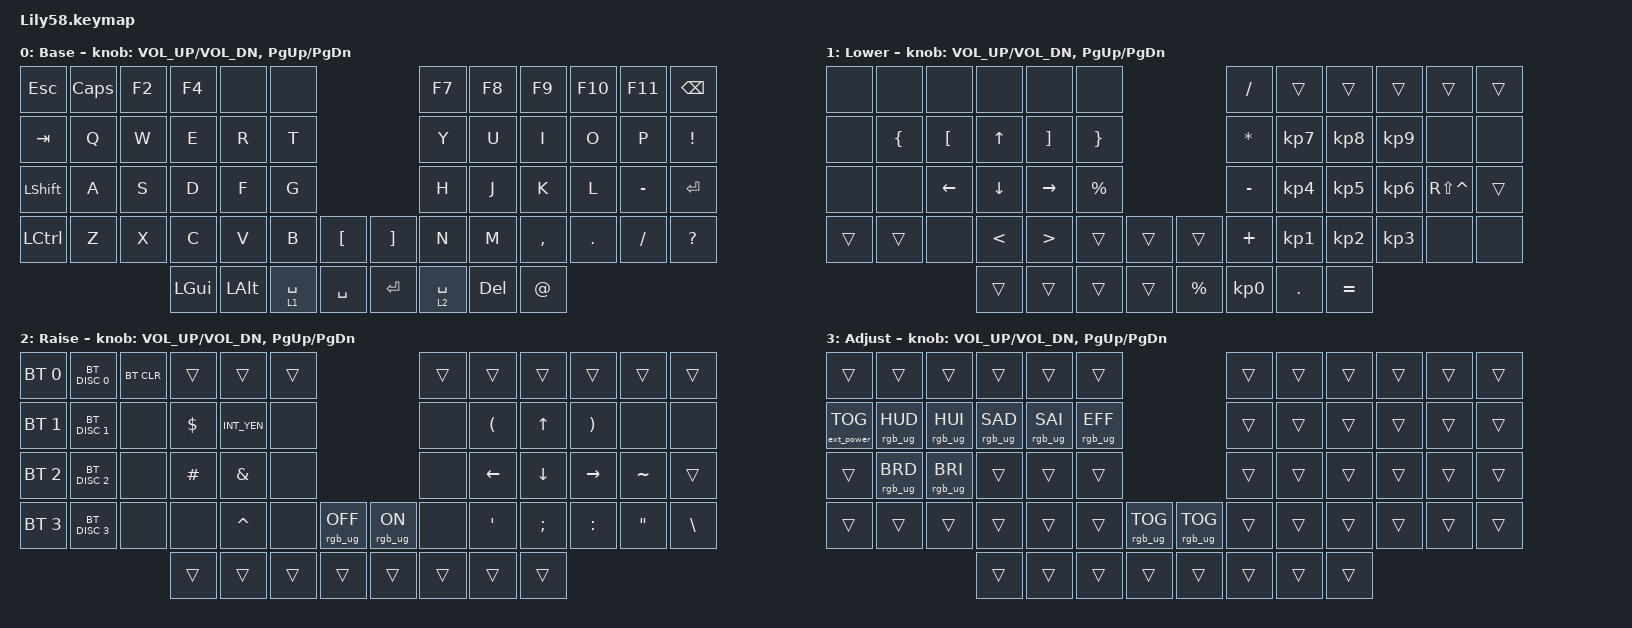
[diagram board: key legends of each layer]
/*
 * Copyright (c) 2020 The ZMK Contributors
 *
 * SPDX-License-Identifier: MIT
 */
// PandaKB Lily58 base config + keymap from yusukegenka-lang/lily58-wireless-view-zmk-config

#include <behaviors.dtsi>
#include <dt-bindings/zmk/bt.h>
#include <dt-bindings/zmk/ext_power.h>
#include <dt-bindings/zmk/keys.h>
#include <dt-bindings/zmk/rgb.h>

/ {
    // Activate ADJUST layer (RGB controls) by holding Lower and Raise together

    conditional_layers {
        compatible = "zmk,conditional-layers";

        adjust_layer {
            if-layers = <1 2>;
            then-layer = <3>;
        };
    };

    combos {
        compatible = "zmk,combos";

        muhenkan {
            bindings = <&kp INT_MUHENKAN>;
            key-positions = <28 27>;
        };

        henkan {
            bindings = <&kp INT_HENKAN>;
            key-positions = <31 32>;
        };
    };

    keymap {
        compatible = "zmk,keymap";

        default_layer {
            display-name = "Base";
            bindings = <
&kp ESC           &kp CAPS  &kp F2  &kp F4        &none         &none                               &kp F7       &kp F8   &kp F9       &kp F10  &kp F11    &kp BACKSPACE
&kp TAB           &kp Q     &kp W   &kp E         &kp R         &kp T                               &kp Y        &kp U    &kp I        &kp O    &kp P      &kp EXCLAMATION
&kp LEFT_SHIFT    &kp A     &kp S   &kp D         &kp F         &kp G                               &kp H        &kp J    &kp K        &kp L    &kp MINUS  &kp ENTER
&kp LEFT_CONTROL  &kp Z     &kp X   &kp C         &kp V         &kp B        &kp LBKT     &kp RBKT  &kp N        &kp M    &kp COMMA    &kp DOT  &kp FSLH   &kp QUESTION
                                    &kp LEFT_GUI  &kp LEFT_ALT  &lt 1 SPACE  &kp SPACE    &kp RET   &lt 2 SPACE  &kp DEL  &kp AT_SIGN
            >;

            sensor-bindings = <&inc_dec_kp C_VOL_UP C_VOL_DN &inc_dec_kp PG_UP PG_DN>;
        };

        lower_layer {
            display-name = "Lower";
            bindings = <
&none   &none           &none             &none           &none              &none                                   &kp SLASH        &trans           &trans           &trans           &trans         &trans
&none   &kp LEFT_BRACE  &kp LEFT_BRACKET  &kp UP_ARROW    &kp RIGHT_BRACKET  &kp RIGHT_BRACE                         &kp ASTERISK     &kp KP_NUMBER_7  &kp KP_NUMBER_8  &kp KP_NUMBER_9  &none          &none
&none   &none           &kp LEFT_ARROW    &kp DOWN_ARROW  &kp RIGHT          &kp PRCNT                               &kp MINUS        &kp KP_NUMBER_4  &kp KP_NUMBER_5  &kp KP_NUMBER_6  &kp RS(CARET)  &trans
&trans  &trans          &none             &kp LESS_THAN   &kp GREATER_THAN   &trans           &trans    &trans       &kp PLUS         &kp KP_NUMBER_1  &kp KP_NUMBER_2  &kp KP_NUMBER_3  &none          &none
                                          &trans          &trans             &trans           &trans    &kp PERCENT  &kp KP_NUMBER_0  &kp PERIOD       &kp EQUAL
            >;

            sensor-bindings = <&inc_dec_kp C_VOL_UP C_VOL_DN &inc_dec_kp PG_UP PG_DN>;
        };

        raise_layer {
            display-name = "Raise";
            bindings = <
&bt BT_SEL 0  &bt BT_DISC 0  &bt BT_CLR  &trans      &trans         &trans                                     &trans  &trans                &trans         &trans                 &trans             &trans
&bt BT_SEL 1  &bt BT_DISC 1  &none       &kp DOLLAR  &kp INT_YEN    &none                                      &none   &kp LEFT_PARENTHESIS  &kp UP_ARROW   &kp RIGHT_PARENTHESIS  &none              &none
&bt BT_SEL 2  &bt BT_DISC 2  &none       &kp HASH    &kp AMPERSAND  &none                                      &none   &kp LEFT              &kp DOWN       &kp RIGHT_ARROW        &kp TILDE          &trans
&bt BT_SEL 3  &bt BT_DISC 3  &none       &none       &kp CARET      &none   &rgb_ug RGB_OFF    &rgb_ug RGB_ON  &none   &kp SQT               &kp SEMICOLON  &kp COLON              &kp DOUBLE_QUOTES  &kp BSLH
                                         &trans      &trans         &trans  &trans             &trans          &trans  &trans                &trans
            >;

            sensor-bindings = <&inc_dec_kp C_VOL_UP C_VOL_DN &inc_dec_kp PG_UP PG_DN>;
        };

        adjust_layer {
            // From PandaKB default: RGB underglow controls (hold Lower + Raise)
            // ----------------------------------------------------------------------------------------------------------------------------
            // |        |         |         |         |         |         |                  |      |      |       |      |       |       |
            // | EXTPWR | RGB_HUD | RGB_HUI | RGB_SAD | RGB_SAI | RGB_EFF |                  |      |      |       |      |       |       |
            // |        | RGB_BRD | RGB_BRI |         |         |         |                  |      |      |       |      |       |       |
            // |        |         |         |         |         |         | RGB_TOG | |RGB_TOG|      |      |       |      |       |       |
            //                    |         |         |         |         |         | |      |      |      |       |      |

            display-name = "Adjust";
            bindings = <
&trans             &trans           &trans           &trans           &trans           &trans                                               &trans  &trans  &trans  &trans  &trans  &trans
&ext_power EP_TOG  &rgb_ug RGB_HUD  &rgb_ug RGB_HUI  &rgb_ug RGB_SAD  &rgb_ug RGB_SAI  &rgb_ug RGB_EFF                                      &trans  &trans  &trans  &trans  &trans  &trans
&trans             &rgb_ug RGB_BRD  &rgb_ug RGB_BRI  &trans           &trans           &trans                                               &trans  &trans  &trans  &trans  &trans  &trans
&trans             &trans           &trans           &trans           &trans           &trans           &rgb_ug RGB_TOG    &rgb_ug RGB_TOG  &trans  &trans  &trans  &trans  &trans  &trans
                                                     &trans           &trans           &trans           &trans             &trans           &trans  &trans  &trans
            >;

            sensor-bindings = <&inc_dec_kp C_VOL_UP C_VOL_DN &inc_dec_kp PG_UP PG_DN>;
        };

        extra1 { status = "reserved"; };

        extra2 { status = "reserved"; };

        extra3 { status = "reserved"; };

        extra4 { status = "reserved"; };
    };
};
